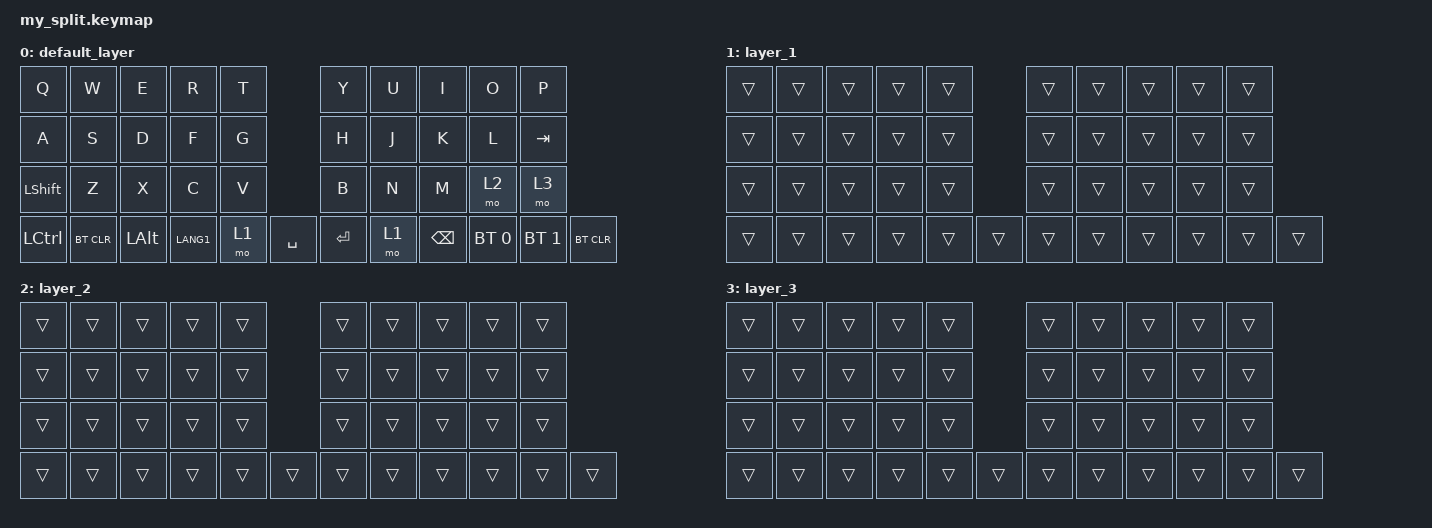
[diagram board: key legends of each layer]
#include <behaviors.dtsi>
#include <dt-bindings/zmk/keys.h>
#include <dt-bindings/zmk/bt.h>

/ {
    keymap {
        compatible = "zmk,keymap";

        default_layer {
            bindings = <
&kp Q      &kp W      &kp E      &kp R      &kp T                 &kp Y      &kp U      &kp I      &kp O      &kp P
&kp A      &kp S      &kp D      &kp F      &kp G                 &kp H      &kp J      &kp K      &kp L      &kp TAB
&kp LSHFT  &kp Z      &kp X      &kp C      &kp V                 &kp B      &kp N      &kp M      &mo 2      &mo 3
&kp LCTRL  &bt BT_CLR &kp LALT   &kp LANG1  &mo 1      &kp SPACE  &kp RET    &mo 1      &kp BSPC   &bt BT_SEL 0 &bt BT_SEL 1 &bt BT_CLR
            >;
        };
        // 他のレイヤーは省略可ですが、一旦このままビルドして試してください
        layer_1 { bindings = <&trans &trans &trans &trans &trans &trans &trans &trans &trans &trans &trans &trans &trans &trans &trans &trans &trans &trans &trans &trans &trans &trans &trans &trans &trans &trans &trans &trans &trans &trans &trans &trans &trans &trans &trans &trans &trans &trans &trans &trans &trans &trans>; };
        layer_2 { bindings = <&trans &trans &trans &trans &trans &trans &trans &trans &trans &trans &trans &trans &trans &trans &trans &trans &trans &trans &trans &trans &trans &trans &trans &trans &trans &trans &trans &trans &trans &trans &trans &trans &trans &trans &trans &trans &trans &trans &trans &trans &trans &trans>; };
        layer_3 { bindings = <&trans &trans &trans &trans &trans &trans &trans &trans &trans &trans &trans &trans &trans &trans &trans &trans &trans &trans &trans &trans &trans &trans &trans &trans &trans &trans &trans &trans &trans &trans &trans &trans &trans &trans &trans &trans &trans &trans &trans &trans &trans &trans>; };
    };
};
